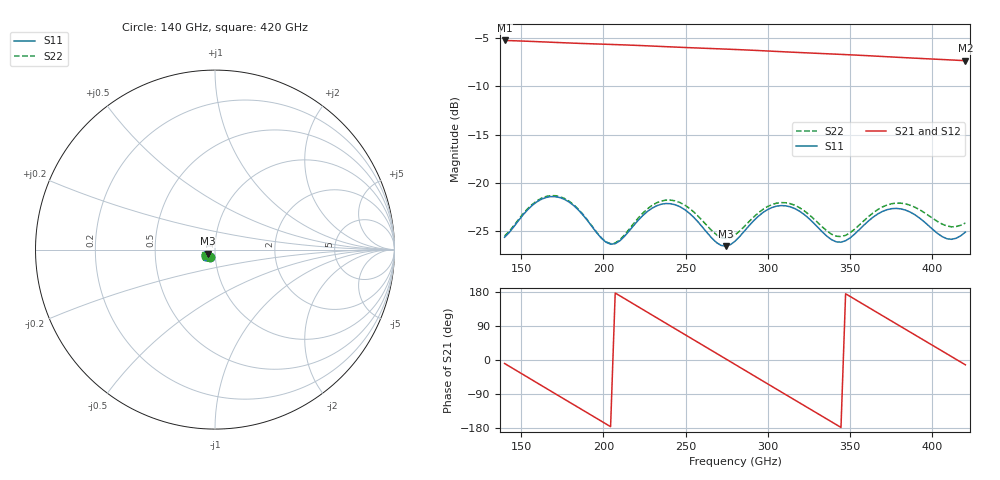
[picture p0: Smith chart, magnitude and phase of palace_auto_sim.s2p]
#  GHZ S DB R 50
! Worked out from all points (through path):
!   101 points, 140 GHz to 420 GHz, reference 50 ohm
!   highest |S21| = -5.23 dB at 140 GHz (marker M1); lowest = -7.3 dB at 420 GHz (marker M2)
!   group delay of S21, straight-line fit = 7.18 ps
!   lowest |S11| = -26.6 dB at 274.4 GHz (marker M3), VSWR 1.10, Z = 46.1 - j2.17 ohm
!   |S11| at or under -10 dB: start of sweep to end of sweep
!   |S22| runs from -26.3 to -21.3 dB; largest |S21 - S12| = 6e-14
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140  -25.67 -125.6  -5.23 -9.2  -5.23 -9.2  -25.53 -125.2
151.2  -23.35 -120.7  -5.29 -38.3  -5.29 -38.3  -23.24 -120.1
165.2  -21.54 -133.9  -5.39 -74.6  -5.39 -74.6  -21.43 -133.1
176.4  -21.73 -147.9  -5.47 -103.6  -5.47 -103.6  -21.64 -146.9
187.6  -23.36 -157.9  -5.54 -132.5  -5.54 -132.5  -23.29 -156.7
198.8  -25.76 -155.0  -5.61 -161.5  -5.61 -161.5  -25.73 -153.2
210  -26.04 -138.1  -5.67 169.5  -5.67 169.5  -25.94 -135.3
224  -23.41 -134.3  -5.76 133.2  -5.76 133.2  -23.15 -131.3
235.2  -22.24 -144.2  -5.85 104.2  -5.85 104.2  -21.90 -141.1
252  -23.13 -161.1  -5.97 60.8  -5.97 60.8  -22.62 -157.8
274.4  -26.59 -149.9  -6.12 2.9  -6.12 2.9  -25.80 -149.5
280  -26.08 -141.9  -6.16 -11.6  -6.16 -11.6  -25.43 -142.4
294  -23.51 -139.2  -6.27 -47.9  -6.27 -47.9  -23.16 -139.2
305.2  -22.44 -148.4  -6.37 -76.8  -6.37 -76.8  -22.13 -147.6
316.4  -22.70 -159.2  -6.46 -105.7  -6.46 -105.7  -22.35 -157.7
327.6  -24.16 -165.4  -6.55 -134.6  -6.55 -134.6  -23.71 -163.5
338.8  -25.94 -159.8  -6.63 -163.5  -6.63 -163.5  -25.36 -158.3
350  -25.73 -146.0  -6.72 167.6  -6.72 167.6  -25.19 -145.4
375.2  -22.70 -151.7  -6.94 102.6  -6.94 102.6  -22.18 -149.8
386.4  -23.05 -160.7  -7.04 73.8  -7.04 73.8  -22.34 -158.3
400.4  -24.88 -163.6  -7.16 37.8  -7.16 37.8  -23.73 -162.4
420  -25.13 -144.1  -7.33 -12.7  -7.33 -12.7  -24.19 -149.7
